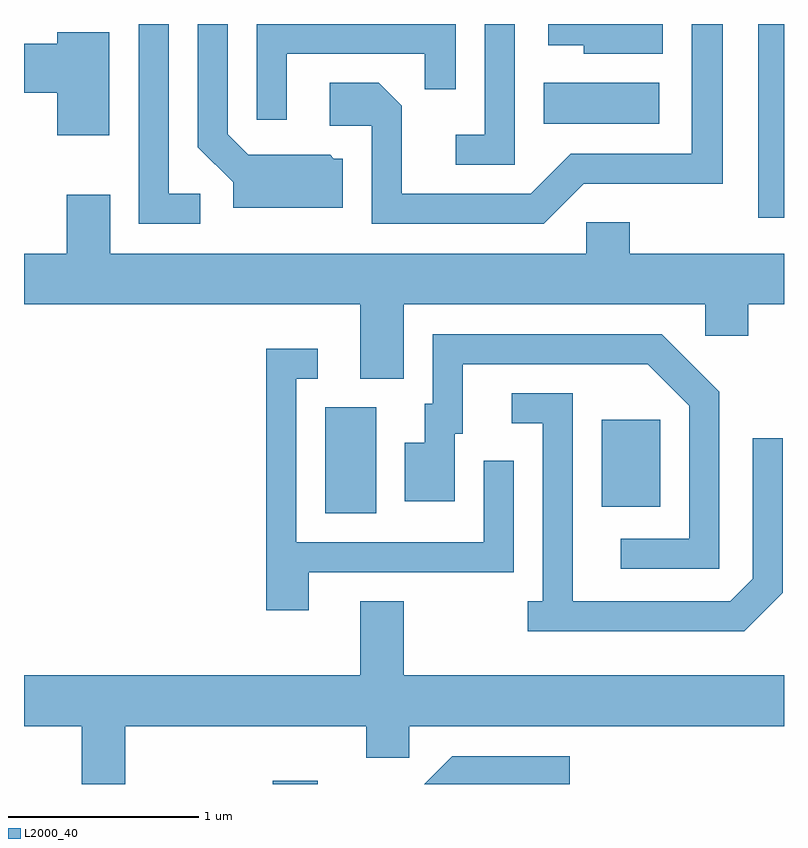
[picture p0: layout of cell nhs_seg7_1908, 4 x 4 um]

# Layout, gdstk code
import gdstk
lib = gdstk.Library(unit=1e-6, precision=1e-09)
def R(c, l, rs):  # rectangles x0, y0, x1, y1
    for r in rs: c.add(gdstk.rectangle(r[:2], r[2:], *l))
def P(c, l, *ps):  # polygons
    for p in ps: c.add(gdstk.Polygon(p, *l))
L2000_40 = (2000, 40)

nhs_seg7_1908 = lib.new_cell('nhs_seg7_1908')
R(nhs_seg7_1908, L2000_40, [(244.921,1696.252,245.158,1696.269), (245.196,1697.676,245.464,1698.234), (246.651,1697.711,246.959,1698.169), (247.476,1699.231,247.611,1700.252), (246.346,1699.726,246.954,1699.944)])
P(nhs_seg7_1908, L2000_40, [(246.194,1700.252),(246.036,1700.252),(246.036,1699.669),(245.883,1699.669),(245.883,1699.511),(246.194,1699.511)],
  [(246.557,1699.411),(247.289,1699.411),(247.289,1700.252),(247.126,1700.252),(247.126,1699.569),(246.489,1699.569),(246.279,1699.359),(245.599,1699.359),(245.599,1699.822),(245.477,1699.944),(245.221,1699.944),(245.221,1699.716),(245.441,1699.716),(245.441,1699.201),(246.347,1699.201)],
  [(246.974,1700.252),(246.371,1700.252),(246.371,1700.141),(246.556,1700.141),(246.556,1700.096),(246.974,1700.096)],
  [(245.289,1699.544),(245.242,1699.544),(245.222,1699.564),(244.792,1699.564),(244.684,1699.672),(244.684,1700.252),(244.526,1700.252),(244.526,1699.604),(244.711,1699.419),(244.711,1699.286),(245.289,1699.286)],
  [(244.538,1699.359),(244.374,1699.359),(244.374,1700.252),(244.216,1700.252),(244.216,1699.201),(244.538,1699.201)],
  [(244.994,1700.096),(245.721,1700.096),(245.721,1699.908),(245.884,1699.908),(245.884,1700.252),(244.836,1700.252),(244.836,1699.748),(244.994,1699.748)],
  [(244.059,1700.209),(243.786,1700.209),(243.786,1700.149),(243.611,1700.149),(243.611,1699.891),(243.786,1699.891),(243.786,1699.666),(244.059,1699.666)],
  [(245.609,1698.776),(247.196,1698.776),(247.196,1698.611),(247.424,1698.611),(247.424,1698.776),(247.611,1698.776),(247.611,1699.044),(246.799,1699.044),(246.799,1699.209),(246.571,1699.209),(246.571,1699.044),(244.064,1699.044),(244.064,1699.354),(243.836,1699.354),(243.836,1699.044),(243.611,1699.044),(243.611,1698.776),(245.381,1698.776),(245.381,1698.386),(245.609,1698.386)],
  [(247.269,1698.317),(246.967,1698.619),(245.761,1698.619),(245.761,1698.254),(245.721,1698.254),(245.721,1698.049),(245.616,1698.049),(245.616,1697.741),(245.879,1697.741),(245.879,1698.096),(245.919,1698.096),(245.919,1698.461),(246.894,1698.461),(247.111,1698.244),(247.111,1697.544),(246.753,1697.544),(246.753,1697.386),(247.269,1697.386)],
  [(245.109,1697.366),(246.189,1697.366),(246.189,1697.953),(246.031,1697.953),(246.031,1697.524),(245.044,1697.524),(245.044,1698.386),(245.158,1698.386),(245.158,1698.544),(244.886,1698.544),(244.886,1697.166),(245.109,1697.166)],
  [(247.604,1697.259),(247.604,1698.073),(247.446,1698.073),(247.446,1697.332),(247.329,1697.214),(246.499,1697.214),(246.499,1698.309),(246.178,1698.309),(246.178,1698.151),(246.341,1698.151),(246.341,1697.214),(246.263,1697.214),(246.263,1697.056),(247.402,1697.056)],
  [(244.144,1696.556),(245.411,1696.556),(245.411,1696.391),(245.639,1696.391),(245.639,1696.556),(247.611,1696.556),(247.611,1696.824),(245.609,1696.824),(245.609,1697.214),(245.381,1697.214),(245.381,1696.824),(243.611,1696.824),(243.611,1696.556),(243.916,1696.556),(243.916,1696.252),(244.144,1696.252)],
  [(246.484,1696.399),(245.864,1696.399),(245.717,1696.252),(246.484,1696.252)])

lib.write_gds('nhs_seg7_1908.gds')
